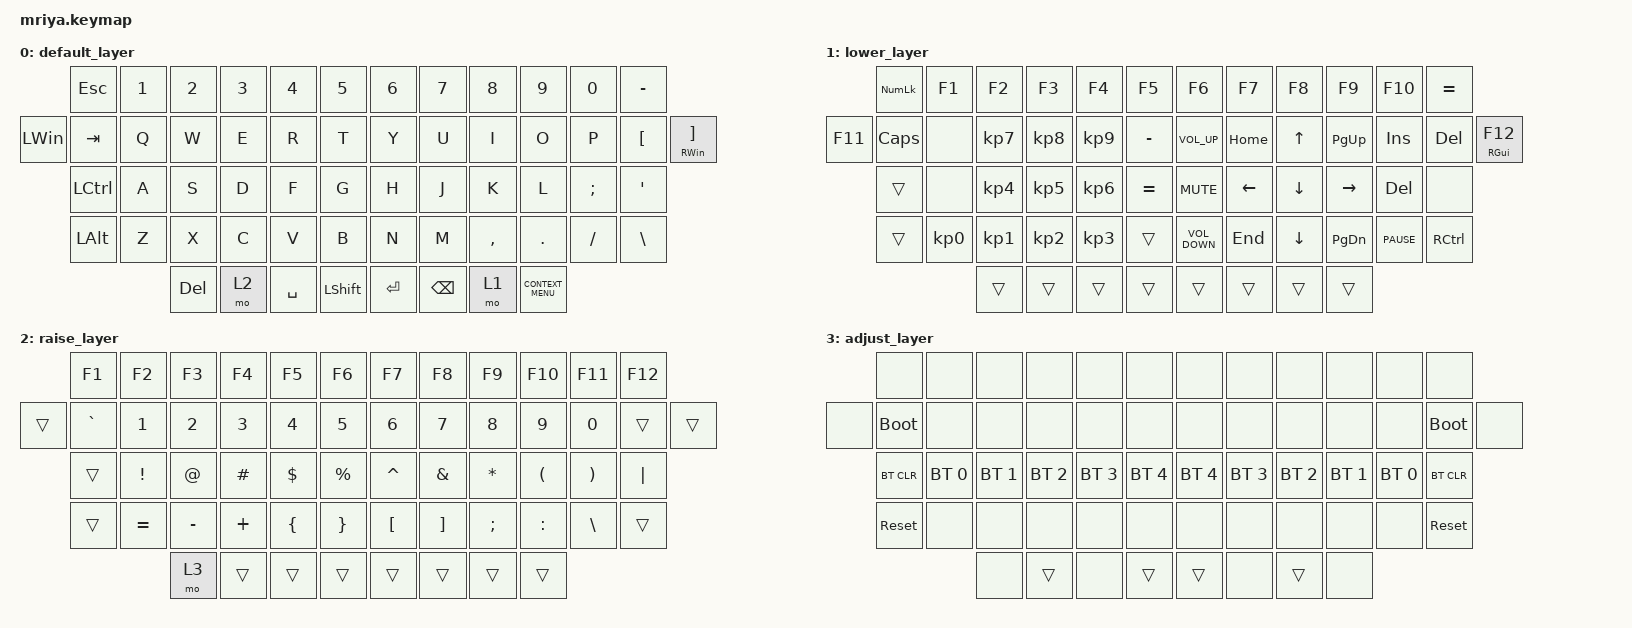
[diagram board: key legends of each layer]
/*
 * Copyright (c) 2023 Andrei Gaevskii
 *
 * SPDX-License-Identifier: MIT
 */

#include <behaviors.dtsi>
#include <dt-bindings/zmk/bt.h>
#include <dt-bindings/zmk/keys.h>

#define DEF 0
#define LWR 1
#define RSE 2
#define ADJ 3

&lt { quick_tap_ms = <200>; };

&mt { quick_tap_ms = <200>; };

/ {
    combos {
        compatible = "zmk,combos";

        combo_reset {
            bindings = <&sys_reset>;
            key-positions = <51 56>;
            timeout-ms = <50>;
        };

        bt_reset {
            bindings = <&bt BT_CLR_ALL>;
            key-positions = <50 52 26>;
            layers = <0>;
        };
    };

    keymap {
        compatible = "zmk,keymap";

        default_layer {
            bindings = <
          &kp ESC       &kp N1  &kp N2      &kp N3  &kp N4     &kp N5       &kp N6     &kp N7    &kp N8     &kp N9              &kp N0     &kp MINUS
&kp LWIN  &kp TAB       &kp Q   &kp W       &kp E   &kp R      &kp T        &kp Y      &kp U     &kp I      &kp O               &kp P      &kp LBKT   &mt RWIN RBKT
          &kp LCTRL     &kp A   &kp S       &kp D   &kp F      &kp G        &kp H      &kp J     &kp K      &kp L               &kp SEMI   &kp SQT
          &kp LEFT_ALT  &kp Z   &kp X       &kp C   &kp V      &kp B        &kp N      &kp M     &kp COMMA  &kp DOT             &kp SLASH  &kp BSLH
                                &kp DELETE  &mo 2   &kp SPACE  &kp LSHFT    &kp ENTER  &kp BSPC  &mo 1      &kp K_CONTEXT_MENU
            >;
        };

        lower_layer {
            bindings = <
         &kp KP_NUMLOCK  &kp F1     &kp F2     &kp F3     &kp F4     &kp F5       &kp F6             &kp F7    &kp F8    &kp F9         &kp F10      &kp EQUAL
&kp F11  &kp CAPS        &none      &kp KP_N7  &kp KP_N8  &kp KP_N9  &kp MINUS    &kp C_VOL_UP       &kp HOME  &kp UP    &kp PG_UP      &kp INS      &kp DEL    &mt RGUI F12
         &trans          &none      &kp KP_N4  &kp KP_N5  &kp KP_N6  &kp EQUAL    &kp C_MUTE         &kp LEFT  &kp DOWN  &kp RIGHT      &kp DELETE   &none
         &trans          &kp KP_N0  &kp KP_N1  &kp KP_N2  &kp KP_N3  &trans       &kp C_VOLUME_DOWN  &kp END   &kp DOWN  &kp PAGE_DOWN  &kp C_PAUSE  &kp RCTRL
                                    &trans     &trans     &trans     &trans       &trans             &trans    &trans    &trans
            >;
        };

        raise_layer {
            bindings = <
        &kp F1     &kp F2        &kp F3        &kp F4        &kp F5          &kp F6             &kp F7            &kp F8    &kp F9         &kp F10    &kp F11        &kp F12
&trans  &kp GRAVE  &kp NUMBER_1  &kp NUMBER_2  &kp NUMBER_3  &kp NUMBER_4    &kp N5             &kp NUMBER_6      &kp N7    &kp N8         &kp N9     &kp N0         &trans    &trans
        &trans     &kp EXCL      &kp AT        &kp HASH      &kp DLLR        &kp PRCNT          &kp CARET         &kp AMPS  &kp STAR       &kp LPAR   &kp RPAR       &kp PIPE
        &trans     &kp EQUAL     &kp MINUS     &kp PLUS      &kp LEFT_BRACE  &kp RIGHT_BRACE    &kp LEFT_BRACKET  &kp RBKT  &kp SEMICOLON  &kp COLON  &kp BACKSLASH  &trans
                                 &mo 3         &trans        &trans          &trans             &trans            &trans    &trans         &trans
            >;
        };

        adjust_layer {
            bindings = <
       &none        &none         &none         &none         &none         &none           &none         &none         &none         &none         &none         &none
&none  &bootloader  &none         &none         &none         &none         &none           &none         &none         &none         &none         &none         &bootloader  &none
       &bt BT_CLR   &bt BT_SEL 0  &bt BT_SEL 1  &bt BT_SEL 2  &bt BT_SEL 3  &bt BT_SEL 4    &bt BT_SEL 4  &bt BT_SEL 3  &bt BT_SEL 2  &bt BT_SEL 1  &bt BT_SEL 0  &bt BT_CLR
       &sys_reset   &none         &none         &none         &none         &none           &none         &none         &none         &none         &none         &sys_reset
                                  &none         &trans        &none         &trans          &trans        &none         &trans        &none
            >;
        };
    };
};
